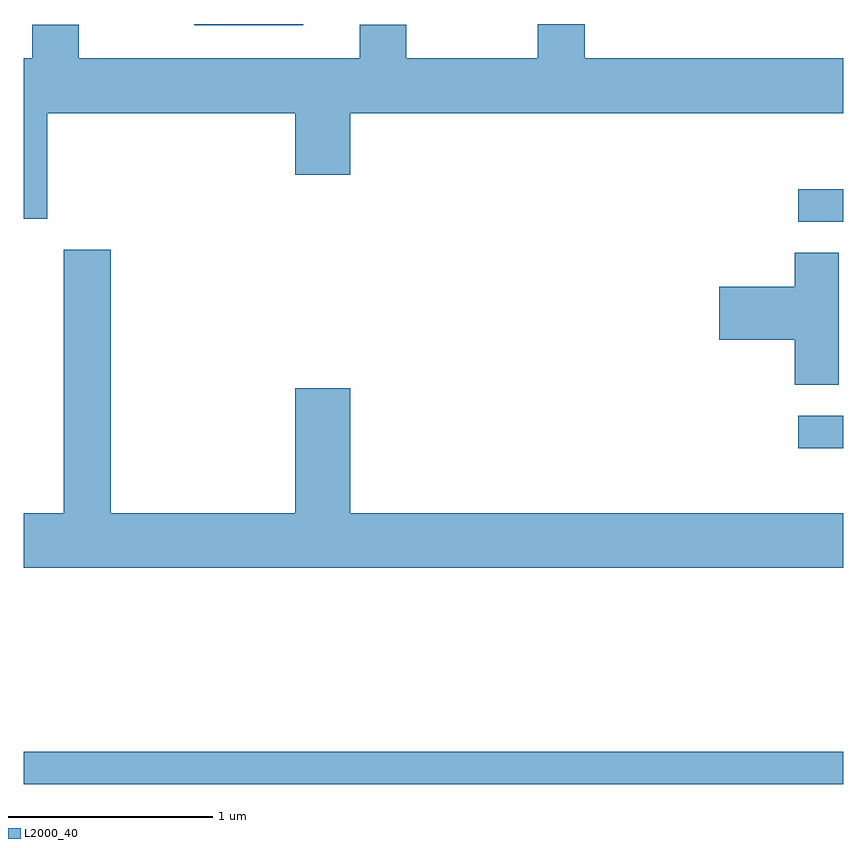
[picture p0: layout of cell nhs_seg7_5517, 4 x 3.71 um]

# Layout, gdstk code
import gdstk
lib = gdstk.Library(unit=1e-6, precision=1e-09)
def R(c, l, rs):  # rectangles x0, y0, x1, y1
    for r in rs: c.add(gdstk.rectangle(r[:2], r[2:], *l))
def P(c, l, *ps):  # polygons
    for p in ps: c.add(gdstk.Polygon(p, *l))
L2000_40 = (2000, 40)

nhs_seg7_5517 = lib.new_cell('nhs_seg7_5517')
R(nhs_seg7_5517, L2000_40, [(353.611,1766.541,357.611,1766.699), (357.393,1768.181,357.611,1768.339), (357.393,1769.286,357.611,1769.444)])
P(nhs_seg7_5517, L2000_40, [(354.978,1770.252),(354.443,1770.252),(354.443,1770.246),(354.972,1770.246)],
  [(353.724,1769.816),(354.936,1769.816),(354.936,1769.516),(355.204,1769.516),(355.204,1769.816),(357.611,1769.816),(357.611,1770.084),(356.349,1770.084),(356.349,1770.252),(356.121,1770.252),(356.121,1770.084),(355.479,1770.084),(355.479,1770.249),(355.251,1770.249),(355.251,1770.084),(353.879,1770.084),(353.879,1770.249),(353.651,1770.249),(353.651,1770.084),(353.611,1770.084),(353.611,1769.301),(353.724,1769.301)],
  [(357.611,1767.864),(355.204,1767.864),(355.204,1768.474),(354.936,1768.474),(354.936,1767.864),(354.034,1767.864),(354.034,1769.149),(353.806,1769.149),(353.806,1767.864),(353.611,1767.864),(353.611,1767.596),(357.611,1767.596)],
  [(357.589,1769.134),(357.376,1769.134),(357.376,1768.969),(357.006,1768.969),(357.006,1768.711),(357.376,1768.711),(357.376,1768.491),(357.589,1768.491)])

lib.write_gds('nhs_seg7_5517.gds')
